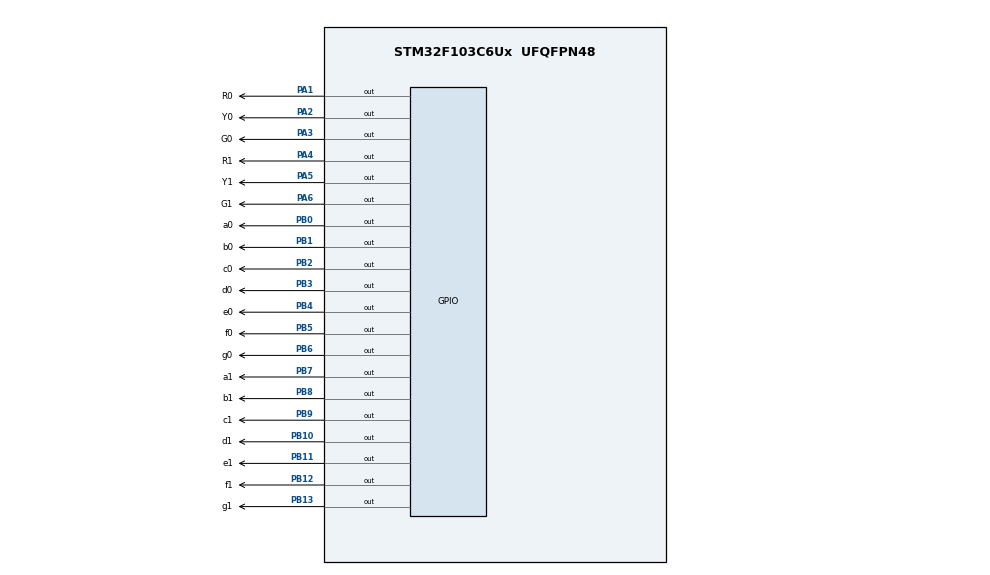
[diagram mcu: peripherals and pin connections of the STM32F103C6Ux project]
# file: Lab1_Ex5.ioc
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Mcu.Family=STM32F1
Mcu.Name=STM32F103C6Ux
Mcu.Package=UFQFPN48
NVIC.PriorityGroup=NVIC_PRIORITYGROUP_4
PA1.GPIO_Label=R0
PA1.Signal=GPIO_Output
PA2.GPIO_Label=Y0
PA2.Signal=GPIO_Output
PA3.GPIO_Label=G0
PA3.Signal=GPIO_Output
PA4.GPIO_Label=R1
PA4.Signal=GPIO_Output
PA5.GPIO_Label=Y1
PA5.Signal=GPIO_Output
PA6.GPIO_Label=G1
PA6.Signal=GPIO_Output
PB0.GPIO_Label=a0
PB0.Signal=GPIO_Output
PB1.GPIO_Label=b0
PB1.Signal=GPIO_Output
PB10.GPIO_Label=d1
PB10.Signal=GPIO_Output
PB11.GPIO_Label=e1
PB11.Signal=GPIO_Output
PB12.GPIO_Label=f1
PB12.Signal=GPIO_Output
PB13.GPIO_Label=g1
PB13.Signal=GPIO_Output
PB2.GPIO_Label=c0
PB2.Signal=GPIO_Output
PB3.GPIO_Label=d0
PB3.Signal=GPIO_Output
PB4.GPIO_Label=e0
PB4.Signal=GPIO_Output
PB5.GPIO_Label=f0
PB5.Signal=GPIO_Output
PB6.GPIO_Label=g0
PB6.Signal=GPIO_Output
PB7.GPIO_Label=a1
PB7.Signal=GPIO_Output
PB8.GPIO_Label=b1
PB8.Signal=GPIO_Output
PB9.GPIO_Label=c1
PB9.Signal=GPIO_Output
ProjectManager.HeapSize=0x200
ProjectManager.StackSize=0x400
ProjectManager.TargetToolchain=STM32CubeIDE
RCC.APB1Freq_Value=8000000
RCC.APB2Freq_Value=8000000
board=custom

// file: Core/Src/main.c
//APPROVED 27/10/2022
/* USER CODE BEGIN Header */
/**
  ******************************************************************************
  * @file           : main.c
  * @brief          : Main program body
  ******************************************************************************
  * @attention
  *
  * Copyright (c) 2022 STMicroelectronics.
  * All rights reserved.
  *
  * This software is licensed under terms that can be found in the LICENSE file
  * in the root directory of this software component.
  * If no LICENSE file comes with this software, it is provided AS-IS.
  *
  ******************************************************************************
  */
/* USER CODE END Header */
#include "main.h"

void SystemClock_Config(void);
static void MX_GPIO_Init(void);

/* USER CODE BEGIN 0 */
void display7SEG_0(int num) {
	switch(num) {
	case 0: {
		HAL_GPIO_WritePin(a0_GPIO_Port, a0_Pin, GPIO_PIN_RESET);
		HAL_GPIO_WritePin(b0_GPIO_Port, b0_Pin, GPIO_PIN_RESET);
		HAL_GPIO_WritePin(c0_GPIO_Port, c0_Pin, GPIO_PIN_RESET);
		HAL_GPIO_WritePin(d0_GPIO_Port, d0_Pin, GPIO_PIN_RESET);
		HAL_GPIO_WritePin(e0_GPIO_Port, e0_Pin, GPIO_PIN_RESET);
		HAL_GPIO_WritePin(f0_GPIO_Port, f0_Pin, GPIO_PIN_RESET);
		HAL_GPIO_WritePin(g0_GPIO_Port, g0_Pin, GPIO_PIN_SET);
		break;
	}
	case 1: {
		HAL_GPIO_WritePin(a0_GPIO_Port, a0_Pin, GPIO_PIN_SET);
		HAL_GPIO_WritePin(b0_GPIO_Port, b0_Pin, GPIO_PIN_RESET);
		HAL_GPIO_WritePin(c0_GPIO_Port, c0_Pin, GPIO_PIN_RESET);
		HAL_GPIO_WritePin(d0_GPIO_Port, d0_Pin, GPIO_PIN_SET);
		HAL_GPIO_WritePin(e0_GPIO_Port, e0_Pin, GPIO_PIN_SET);
		HAL_GPIO_WritePin(f0_GPIO_Port, f0_Pin, GPIO_PIN_SET);
		HAL_GPIO_WritePin(g0_GPIO_Port, g0_Pin, GPIO_PIN_SET);
		break;
	}
	case 2: {
		HAL_GPIO_WritePin(a0_GPIO_Port, a0_Pin, GPIO_PIN_RESET);
		HAL_GPIO_WritePin(b0_GPIO_Port, b0_Pin, GPIO_PIN_RESET);
		HAL_GPIO_WritePin(c0_GPIO_Port, c0_Pin, GPIO_PIN_SET);
		HAL_GPIO_WritePin(d0_GPIO_Port, d0_Pin, GPIO_PIN_RESET);
		HAL_GPIO_WritePin(e0_GPIO_Port, e0_Pin, GPIO_PIN_RESET);
		HAL_GPIO_WritePin(f0_GPIO_Port, f0_Pin, GPIO_PIN_SET);
		HAL_GPIO_WritePin(g0_GPIO_Port, g0_Pin, GPIO_PIN_RESET);
		break;
	}
	case 3: {
		HAL_GPIO_WritePin(a0_GPIO_Port, a0_Pin, GPIO_PIN_RESET);
		HAL_GPIO_WritePin(b0_GPIO_Port, b0_Pin, GPIO_PIN_RESET);
		HAL_GPIO_WritePin(c0_GPIO_Port, c0_Pin, GPIO_PIN_RESET);
		HAL_GPIO_WritePin(d0_GPIO_Port, d0_Pin, GPIO_PIN_RESET);
		HAL_GPIO_WritePin(e0_GPIO_Port, e0_Pin, GPIO_PIN_SET);
		HAL_GPIO_WritePin(f0_GPIO_Port, f0_Pin, GPIO_PIN_SET);
		HAL_GPIO_WritePin(g0_GPIO_Port, g0_Pin, GPIO_PIN_RESET);
		break;
	}
	case 4: {
		HAL_GPIO_WritePin(a0_GPIO_Port, a0_Pin, GPIO_PIN_SET);
		HAL_GPIO_WritePin(b0_GPIO_Port, b0_Pin, GPIO_PIN_RESET);
		HAL_GPIO_WritePin(c0_GPIO_Port, c0_Pin, GPIO_PIN_RESET);
		HAL_GPIO_WritePin(d0_GPIO_Port, d0_Pin, GPIO_PIN_SET);
		HAL_GPIO_WritePin(e0_GPIO_Port, e0_Pin, GPIO_PIN_SET);
		HAL_GPIO_WritePin(f0_GPIO_Port, f0_Pin, GPIO_PIN_RESET);
		HAL_GPIO_WritePin(g0_GPIO_Port, g0_Pin, GPIO_PIN_RESET);
		break;
	}
	case 5: {
		HAL_GPIO_WritePin(a0_GPIO_Port, a0_Pin, GPIO_PIN_RESET);
		HAL_GPIO_WritePin(b0_GPIO_Port, b0_Pin, GPIO_PIN_SET);
		HAL_GPIO_WritePin(c0_GPIO_Port, c0_Pin, GPIO_PIN_RESET);
		HAL_GPIO_WritePin(d0_GPIO_Port, d0_Pin, GPIO_PIN_RESET);
		HAL_GPIO_WritePin(e0_GPIO_Port, e0_Pin, GPIO_PIN_SET);
		HAL_GPIO_WritePin(f0_GPIO_Port, f0_Pin, GPIO_PIN_RESET);
		HAL_GPIO_WritePin(g0_GPIO_Port, g0_Pin, GPIO_PIN_RESET);
		break;
	}
	case 6: {
		HAL_GPIO_WritePin(a0_GPIO_Port, a0_Pin, GPIO_PIN_RESET);
		HAL_GPIO_WritePin(b0_GPIO_Port, b0_Pin, GPIO_PIN_SET);
		HAL_GPIO_WritePin(c0_GPIO_Port, c0_Pin, GPIO_PIN_RESET);
		HAL_GPIO_WritePin(d0_GPIO_Port, d0_Pin, GPIO_PIN_RESET);
		HAL_GPIO_WritePin(e0_GPIO_Port, e0_Pin, GPIO_PIN_RESET);
		HAL_GPIO_WritePin(f0_GPIO_Port, f0_Pin, GPIO_PIN_RESET);
		HAL_GPIO_WritePin(g0_GPIO_Port, g0_Pin, GPIO_PIN_RESET);
		break;
	}
	case 7: {
		HAL_GPIO_WritePin(a0_GPIO_Port, a0_Pin, GPIO_PIN_RESET);
		HAL_GPIO_WritePin(b0_GPIO_Port, b0_Pin, GPIO_PIN_RESET);
		HAL_GPIO_WritePin(c0_GPIO_Port, c0_Pin, GPIO_PIN_RESET);
		HAL_GPIO_WritePin(d0_GPIO_Port, d0_Pin, GPIO_PIN_SET);
		HAL_GPIO_WritePin(e0_GPIO_Port, e0_Pin, GPIO_PIN_SET);
		HAL_GPIO_WritePin(f0_GPIO_Port, f0_Pin, GPIO_PIN_SET);
		HAL_GPIO_WritePin(g0_GPIO_Port, g0_Pin, GPIO_PIN_SET);
		break;
	}
	case 8: {
		HAL_GPIO_WritePin(a0_GPIO_Port, a0_Pin, GPIO_PIN_RESET);
		HAL_GPIO_WritePin(b0_GPIO_Port, b0_Pin, GPIO_PIN_RESET);
		HAL_GPIO_WritePin(c0_GPIO_Port, c0_Pin, GPIO_PIN_RESET);
		HAL_GPIO_WritePin(d0_GPIO_Port, d0_Pin, GPIO_PIN_RESET);
		HAL_GPIO_WritePin(e0_GPIO_Port, e0_Pin, GPIO_PIN_RESET);
		HAL_GPIO_WritePin(f0_GPIO_Port, f0_Pin, GPIO_PIN_RESET);
		HAL_GPIO_WritePin(g0_GPIO_Port, g0_Pin, GPIO_PIN_RESET);
		break;
	}
	default: {
		HAL_GPIO_WritePin(a0_GPIO_Port, a0_Pin, GPIO_PIN_RESET);
		HAL_GPIO_WritePin(b0_GPIO_Port, b0_Pin, GPIO_PIN_RESET);
		HAL_GPIO_WritePin(c0_GPIO_Port, c0_Pin, GPIO_PIN_RESET);
		HAL_GPIO_WritePin(d0_GPIO_Port, d0_Pin, GPIO_PIN_RESET);
		HAL_GPIO_WritePin(e0_GPIO_Port, e0_Pin, GPIO_PIN_SET);
		HAL_GPIO_WritePin(f0_GPIO_Port, f0_Pin, GPIO_PIN_RESET);
		HAL_GPIO_WritePin(g0_GPIO_Port, g0_Pin, GPIO_PIN_RESET);
	}
	}
}

void display7SEG_1(int num) {
	switch(num) {
	case 0: {
		HAL_GPIO_WritePin(a1_GPIO_Port, a1_Pin, GPIO_PIN_RESET);
		HAL_GPIO_WritePin(b1_GPIO_Port, b1_Pin, GPIO_PIN_RESET);
		HAL_GPIO_WritePin(c1_GPIO_Port, c1_Pin, GPIO_PIN_RESET);
		HAL_GPIO_WritePin(d1_GPIO_Port, d1_Pin, GPIO_PIN_RESET);
		HAL_GPIO_WritePin(e1_GPIO_Port, e1_Pin, GPIO_PIN_RESET);
		HAL_GPIO_WritePin(f1_GPIO_Port, f1_Pin, GPIO_PIN_RESET);
		HAL_GPIO_WritePin(g1_GPIO_Port, g1_Pin, GPIO_PIN_SET);
		break;
	}
	case 1: {
		HAL_GPIO_WritePin(a1_GPIO_Port, a1_Pin, GPIO_PIN_SET);
		HAL_GPIO_WritePin(b1_GPIO_Port, b1_Pin, GPIO_PIN_RESET);
		HAL_GPIO_WritePin(c1_GPIO_Port, c1_Pin, GPIO_PIN_RESET);
		HAL_GPIO_WritePin(d1_GPIO_Port, d1_Pin, GPIO_PIN_SET);
		HAL_GPIO_WritePin(e1_GPIO_Port, e1_Pin, GPIO_PIN_SET);
		HAL_GPIO_WritePin(f1_GPIO_Port, f1_Pin, GPIO_PIN_SET);
		HAL_GPIO_WritePin(g1_GPIO_Port, g1_Pin, GPIO_PIN_SET);
		break;
	}
	case 2: {
		HAL_GPIO_WritePin(a1_GPIO_Port, a1_Pin, GPIO_PIN_RESET);
		HAL_GPIO_WritePin(b1_GPIO_Port, b1_Pin, GPIO_PIN_RESET);
		HAL_GPIO_WritePin(c1_GPIO_Port, c1_Pin, GPIO_PIN_SET);
		HAL_GPIO_WritePin(d1_GPIO_Port, d1_Pin, GPIO_PIN_RESET);
		HAL_GPIO_WritePin(e1_GPIO_Port, e1_Pin, GPIO_PIN_RESET);
		HAL_GPIO_WritePin(f1_GPIO_Port, f1_Pin, GPIO_PIN_SET);
		HAL_GPIO_WritePin(g1_GPIO_Port, g1_Pin, GPIO_PIN_RESET);
		break;
	}
	case 3: {
		HAL_GPIO_WritePin(a1_GPIO_Port, a1_Pin, GPIO_PIN_RESET);
		HAL_GPIO_WritePin(b1_GPIO_Port, b1_Pin, GPIO_PIN_RESET);
		HAL_GPIO_WritePin(c1_GPIO_Port, c1_Pin, GPIO_PIN_RESET);
		HAL_GPIO_WritePin(d1_GPIO_Port, d1_Pin, GPIO_PIN_RESET);
		HAL_GPIO_WritePin(e1_GPIO_Port, e1_Pin, GPIO_PIN_SET);
		HAL_GPIO_WritePin(f1_GPIO_Port, f1_Pin, GPIO_PIN_SET);
		HAL_GPIO_WritePin(g1_GPIO_Port, g1_Pin, GPIO_PIN_RESET);
		break;
	}
	case 4: {
		HAL_GPIO_WritePin(a1_GPIO_Port, a1_Pin, GPIO_PIN_SET);
		HAL_GPIO_WritePin(b1_GPIO_Port, b1_Pin, GPIO_PIN_RESET);
		HAL_GPIO_WritePin(c1_GPIO_Port, c1_Pin, GPIO_PIN_RESET);
		HAL_GPIO_WritePin(d1_GPIO_Port, d1_Pin, GPIO_PIN_SET);
		HAL_GPIO_WritePin(e1_GPIO_Port, e1_Pin, GPIO_PIN_SET);
		HAL_GPIO_WritePin(f1_GPIO_Port, f1_Pin, GPIO_PIN_RESET);
		HAL_GPIO_WritePin(g1_GPIO_Port, g1_Pin, GPIO_PIN_RESET);
		break;
	}
	case 5: {
		HAL_GPIO_WritePin(a1_GPIO_Port, a1_Pin, GPIO_PIN_RESET);
		HAL_GPIO_WritePin(b1_GPIO_Port, b1_Pin, GPIO_PIN_SET);
		HAL_GPIO_WritePin(c1_GPIO_Port, c1_Pin, GPIO_PIN_RESET);
		HAL_GPIO_WritePin(d1_GPIO_Port, d1_Pin, GPIO_PIN_RESET);
		HAL_GPIO_WritePin(e1_GPIO_Port, e1_Pin, GPIO_PIN_SET);
		HAL_GPIO_WritePin(f1_GPIO_Port, f1_Pin, GPIO_PIN_RESET);
		HAL_GPIO_WritePin(g1_GPIO_Port, g1_Pin, GPIO_PIN_RESET);
		break;
	}
	case 6: {
		HAL_GPIO_WritePin(a1_GPIO_Port, a1_Pin, GPIO_PIN_RESET);
		HAL_GPIO_WritePin(b1_GPIO_Port, b1_Pin, GPIO_PIN_SET);
		HAL_GPIO_WritePin(c1_GPIO_Port, c1_Pin, GPIO_PIN_RESET);
		HAL_GPIO_WritePin(d1_GPIO_Port, d1_Pin, GPIO_PIN_RESET);
		HAL_GPIO_WritePin(e1_GPIO_Port, e1_Pin, GPIO_PIN_RESET);
		HAL_GPIO_WritePin(f1_GPIO_Port, f1_Pin, GPIO_PIN_RESET);
		HAL_GPIO_WritePin(g1_GPIO_Port, g1_Pin, GPIO_PIN_RESET);
		break;
	}
	case 7: {
		HAL_GPIO_WritePin(a1_GPIO_Port, a1_Pin, GPIO_PIN_RESET);
		HAL_GPIO_WritePin(b1_GPIO_Port, b1_Pin, GPIO_PIN_RESET);
		HAL_GPIO_WritePin(c1_GPIO_Port, c1_Pin, GPIO_PIN_RESET);
		HAL_GPIO_WritePin(d1_GPIO_Port, d1_Pin, GPIO_PIN_SET);
		HAL_GPIO_WritePin(e1_GPIO_Port, e1_Pin, GPIO_PIN_SET);
		HAL_GPIO_WritePin(f1_GPIO_Port, f1_Pin, GPIO_PIN_SET);
		HAL_GPIO_WritePin(g1_GPIO_Port, g1_Pin, GPIO_PIN_SET);
		break;
	}
	case 8: {
		HAL_GPIO_WritePin(a1_GPIO_Port, a1_Pin, GPIO_PIN_RESET);
		HAL_GPIO_WritePin(b1_GPIO_Port, b1_Pin, GPIO_PIN_RESET);
		HAL_GPIO_WritePin(c1_GPIO_Port, c1_Pin, GPIO_PIN_RESET);
		HAL_GPIO_WritePin(d1_GPIO_Port, d1_Pin, GPIO_PIN_RESET);
		HAL_GPIO_WritePin(e1_GPIO_Port, e1_Pin, GPIO_PIN_RESET);
		HAL_GPIO_WritePin(f1_GPIO_Port, f1_Pin, GPIO_PIN_RESET);
		HAL_GPIO_WritePin(g1_GPIO_Port, g1_Pin, GPIO_PIN_RESET);
		break;
	}
	default: {
		HAL_GPIO_WritePin(a1_GPIO_Port, a1_Pin, GPIO_PIN_RESET);
		HAL_GPIO_WritePin(b1_GPIO_Port, b1_Pin, GPIO_PIN_RESET);
		HAL_GPIO_WritePin(c1_GPIO_Port, c1_Pin, GPIO_PIN_RESET);
		HAL_GPIO_WritePin(d1_GPIO_Port, d1_Pin, GPIO_PIN_RESET);
		HAL_GPIO_WritePin(e1_GPIO_Port, e1_Pin, GPIO_PIN_SET);
		HAL_GPIO_WritePin(f1_GPIO_Port, f1_Pin, GPIO_PIN_RESET);
		HAL_GPIO_WritePin(g1_GPIO_Port, g1_Pin, GPIO_PIN_RESET);
	}
	}
}

/* USER CODE END 0 */

int main(void)
{

  /* MCU Configuration--------------------------------------------------------*/

  /* Reset of all peripherals, Initializes the Flash interface and the Systick. */
  HAL_Init();

  /* Configure the system clock */
  SystemClock_Config();

  /* Initialize all configured peripherals */
  MX_GPIO_Init();

  /* Infinite loop */
  /* USER CODE BEGIN WHILE */
  int count = 5;
  int status = 0;
  while (1)
  {
	if (status == 0) {
		HAL_GPIO_WritePin(R0_GPIO_Port, R0_Pin, GPIO_PIN_RESET);
		HAL_GPIO_WritePin(R1_GPIO_Port, R1_Pin, GPIO_PIN_SET);
		HAL_GPIO_WritePin(Y0_GPIO_Port, Y0_Pin, GPIO_PIN_SET);
		HAL_GPIO_WritePin(G0_GPIO_Port, G0_Pin, GPIO_PIN_SET);
		display7SEG_0(count);
		if (count > 3) {
			HAL_GPIO_WritePin(Y1_GPIO_Port, Y1_Pin, GPIO_PIN_RESET);
			HAL_GPIO_WritePin(G1_GPIO_Port, G1_Pin, GPIO_PIN_SET);
			display7SEG_1(count - 5);
		} else {
			HAL_GPIO_WritePin(Y1_GPIO_Port, Y1_Pin, GPIO_PIN_SET);
			HAL_GPIO_WritePin(G1_GPIO_Port, G1_Pin, GPIO_PIN_RESET);
			display7SEG_1(count);
		}
	} else {
		HAL_GPIO_WritePin(R0_GPIO_Port, R0_Pin, GPIO_PIN_SET);
		HAL_GPIO_WritePin(R1_GPIO_Port, R1_Pin, GPIO_PIN_RESET);
		HAL_GPIO_WritePin(Y1_GPIO_Port, Y1_Pin, GPIO_PIN_SET);
		HAL_GPIO_WritePin(G1_GPIO_Port, G1_Pin, GPIO_PIN_SET);
		display7SEG_1(count);
		if (count > 3) {
			HAL_GPIO_WritePin(Y0_GPIO_Port, Y0_Pin, GPIO_PIN_RESET);
			HAL_GPIO_WritePin(G0_GPIO_Port, G0_Pin, GPIO_PIN_SET);
			display7SEG_0(count - 5);
		} else {
			HAL_GPIO_WritePin(Y0_GPIO_Port, Y0_Pin, GPIO_PIN_SET);
			HAL_GPIO_WritePin(G0_GPIO_Port, G0_Pin, GPIO_PIN_RESET);
			display7SEG_0(count);
		}
	}
	count = count - 1;
	if (count == 0) {
		count = 5;
		status = !status;
	}
	HAL_Delay(1000);
  }
  /* USER CODE END 3 */
}

void SystemClock_Config(void)
{
  RCC_OscInitTypeDef RCC_OscInitStruct = {0};
  RCC_ClkInitTypeDef RCC_ClkInitStruct = {0};

  /** Initializes the RCC Oscillators according to the specified parameters
  * in the RCC_OscInitTypeDef structure.
  */
  RCC_OscInitStruct.OscillatorType = RCC_OSCILLATORTYPE_HSI;
  RCC_OscInitStruct.HSIState = RCC_HSI_ON;
  RCC_OscInitStruct.HSICalibrationValue = RCC_HSICALIBRATION_DEFAULT;
  RCC_OscInitStruct.PLL.PLLState = RCC_PLL_NONE;
  if (HAL_RCC_OscConfig(&RCC_OscInitStruct) != HAL_OK)
  {
    Error_Handler();
  }

  /** Initializes the CPU, AHB and APB buses clocks
  */
  RCC_ClkInitStruct.ClockType = RCC_CLOCKTYPE_HCLK|RCC_CLOCKTYPE_SYSCLK
                              |RCC_CLOCKTYPE_PCLK1|RCC_CLOCKTYPE_PCLK2;
  RCC_ClkInitStruct.SYSCLKSource = RCC_SYSCLKSOURCE_HSI;
  RCC_ClkInitStruct.AHBCLKDivider = RCC_SYSCLK_DIV1;
  RCC_ClkInitStruct.APB1CLKDivider = RCC_HCLK_DIV1;
  RCC_ClkInitStruct.APB2CLKDivider = RCC_HCLK_DIV1;

  if (HAL_RCC_ClockConfig(&RCC_ClkInitStruct, FLASH_LATENCY_0) != HAL_OK)
  {
    Error_Handler();
  }
}

static void MX_GPIO_Init(void)
{
  GPIO_InitTypeDef GPIO_InitStruct = {0};

  /* GPIO Ports Clock Enable */
  __HAL_RCC_GPIOA_CLK_ENABLE();
  __HAL_RCC_GPIOB_CLK_ENABLE();

  /*Configure GPIO pin Output Level */
  HAL_GPIO_WritePin(GPIOA, R0_Pin|Y0_Pin|G0_Pin|R1_Pin
                          |Y1_Pin|G1_Pin, GPIO_PIN_RESET);

  /*Configure GPIO pin Output Level */
  HAL_GPIO_WritePin(GPIOB, a0_Pin|b0_Pin|c0_Pin|d1_Pin
                          |e1_Pin|f1_Pin|g1_Pin|d0_Pin
                          |e0_Pin|f0_Pin|g0_Pin|a1_Pin
                          |b1_Pin|c1_Pin, GPIO_PIN_RESET);

  /*Configure GPIO pins : R0_Pin Y0_Pin G0_Pin R1_Pin
                           Y1_Pin G1_Pin */
  GPIO_InitStruct.Pin = R0_Pin|Y0_Pin|G0_Pin|R1_Pin
                          |Y1_Pin|G1_Pin;
  GPIO_InitStruct.Mode = GPIO_MODE_OUTPUT_PP;
  GPIO_InitStruct.Pull = GPIO_NOPULL;
  GPIO_InitStruct.Speed = GPIO_SPEED_FREQ_LOW;
  HAL_GPIO_Init(GPIOA, &GPIO_InitStruct);

  /*Configure GPIO pins : a0_Pin b0_Pin c0_Pin d1_Pin
                           e1_Pin f1_Pin g1_Pin d0_Pin
                           e0_Pin f0_Pin g0_Pin a1_Pin
                           b1_Pin c1_Pin */
  GPIO_InitStruct.Pin = a0_Pin|b0_Pin|c0_Pin|d1_Pin
                          |e1_Pin|f1_Pin|g1_Pin|d0_Pin
                          |e0_Pin|f0_Pin|g0_Pin|a1_Pin
                          |b1_Pin|c1_Pin;
  GPIO_InitStruct.Mode = GPIO_MODE_OUTPUT_PP;
  GPIO_InitStruct.Pull = GPIO_NOPULL;
  GPIO_InitStruct.Speed = GPIO_SPEED_FREQ_LOW;
  HAL_GPIO_Init(GPIOB, &GPIO_InitStruct);

}

void Error_Handler(void)
{
  __disable_irq();
  while (1)
  {
  }
}
